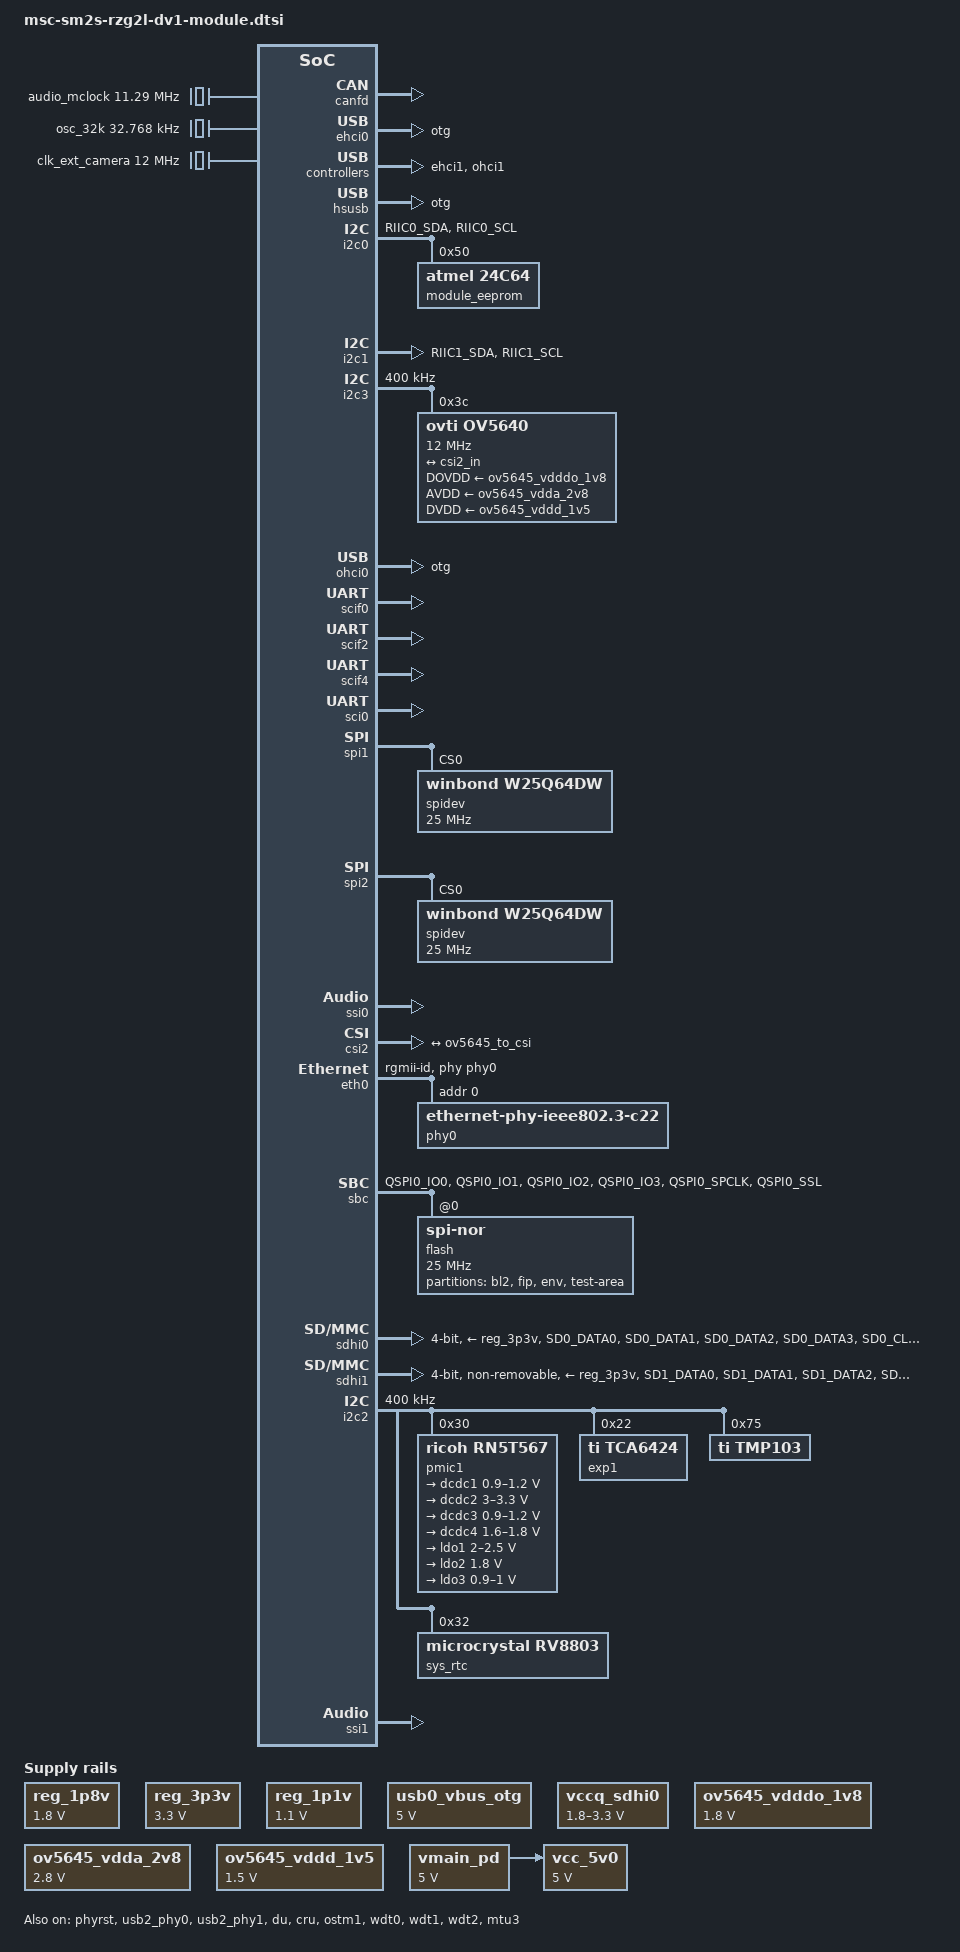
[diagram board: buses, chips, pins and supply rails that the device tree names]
// SPDX-License-Identifier: (GPL-2.0-only OR BSD-2-Clause)
/*
 * Device Tree Source for the RZ/{G2L,V2L} SMARC SOM common parts
 *
 * Copyright (C) 2021 Renesas Electronics Corp.
 */

#include <dt-bindings/gpio/gpio.h>
#include <dt-bindings/pinctrl/rzg2l-pinctrl.h>
#include <dt-bindings/interrupt-controller/arm-gic.h>
#include <dt-bindings/clock/r9a07g044-cpg.h>         
#include <dt-bindings/net/ti-dp83867.h>

/ {
	aliases {
		ethernet0 = &eth0;
		serial0 = &scif0;
		i2c0 = &i2c0;
		i2c1 = &i2c1;
		i2c2 = &i2c2;
		i2c3 = &i2c3;
		mmc0 = &sdhi0;
		mmc1 = &sdhi1;
	};

	chosen {
		bootargs = "ignore_loglevel";
		stdout-path = "serial0:115200n8";
	};

	audio_mclock: audio_mclock {
        	compatible = "fixed-clock";
        	#clock-cells = <0>;
        	clock-frequency = <11289600>;
	};
	
	reg_1p8v: regulator0 {
		compatible = "regulator-fixed";
		regulator-name = "fixed-1.8V";
		regulator-min-microvolt = <1800000>;
		regulator-max-microvolt = <1800000>;
		regulator-boot-on;
		regulator-always-on;
	};

	reg_3p3v: regulator1 {
		compatible = "regulator-fixed";
		regulator-name = "fixed-3.3V";
		regulator-min-microvolt = <3300000>;
		regulator-max-microvolt = <3300000>;
		regulator-boot-on;
		regulator-always-on;
	};

	reg_1p1v: regulator-vdd-core {
		compatible = "regulator-fixed";
		regulator-name = "fixed-1.1V";
		regulator-min-microvolt = <1100000>;
		regulator-max-microvolt = <1100000>;
		regulator-boot-on;
		regulator-always-on;
	};

	usb0_vbus_otg: regulator-usb0-vbus-otg {
		compatible = "regulator-fixed";
		regulator-name = "USB0_VBUS_OTG";
		regulator-min-microvolt = <5000000>;
		regulator-max-microvolt = <5000000>;
	};

	vccq_sdhi0: regulator-vccq-sdhi0 {
		compatible = "regulator-gpio";

		regulator-name = "SDHI0 VccQ";
		regulator-min-microvolt = <1800000>;
		regulator-max-microvolt = <3300000>;
		gpios-states = <1>;
		states = <3300000 1
          		1800000 0>;
	};
	
	vring-ctl0@43000000 {
		compatible = "vring_uio";
		reg = <0x0 0x43000000 0x0 0x100000>;
		no-map;
	};

	vring-ctl1@43100000 {
		compatible = "vring_uio";
		reg = <0x0 0x43100000 0x0 0x100000>;
		no-map;
	};

	vring-shm0@43200000 {
		compatible = "shm_uio";
		reg = <0x0 0x43200000 0x0 0x300000>;
		no-map;
	};

	vring-shm1@43500000 {
		compatible = "shm_uio";
		reg = <0x0 0x43500000 0x0 0x300000>;
		no-map;
	};

	rsctbl@42f00000 {
		compatible = "shm_uio";
		reg = <0x0 0x42f00000 0x0 0x1000>;
		no-map;
	};

	mhu-shm@42f01000 {
		compatible = "shm_uio";
		reg = <0x0 0x42f01000 0x0 0x1000>;
		no-map;
	};

	mbox-uio@10400000 {
		compatible = "mbox_uio";
		reg = <0x0 0x10400000 0x0 0x1000>;
		interrupt-parent = <&gic>;
		interrupts = <GIC_SPI 75 IRQ_TYPE_LEVEL_HIGH>;
		status = "okay";
	};

	osc_32k: osc_32k {
        	compatible = "fixed-clock";
        	#clock-cells = <0>;
        	clock-frequency = <32768>;
        	clock-output-names = "osc_32k";
	};
	
	clk_ext_camera: clk_ext_camera {
		compatible = "fixed-clock";
		#clock-cells = <0>;
		clock-frequency = <12000000>;
	};

	ov5645_vdddo_1v8: 1p8v {
		compatible = "regulator-fixed";
		regulator-name = "camera_vdddo";
		regulator-min-microvolt = <1800000>;
		regulator-max-microvolt = <1800000>;
		regulator-always-on;
	};

	ov5645_vdda_2v8: 2p8v {
		compatible = "regulator-fixed";
		regulator-name = "camera_vdda";
		regulator-min-microvolt = <2800000>;
		regulator-max-microvolt = <2800000>;
		regulator-always-on;
	 };

	ov5645_vddd_1v5: 1p5v {
		compatible = "regulator-fixed";
		regulator-name = "camera_vddd";
		regulator-min-microvolt = <1500000>;
		regulator-max-microvolt = <1500000>;
		regulator-always-on;
	};
	
	vmain_pd: regulator3 {
        	compatible = "regulator-fixed";
        	regulator-name = "vmain_pd";
        	regulator-min-microvolt = <5000000>;
        	regulator-max-microvolt = <5000000>;
        	regulator-always-on;
        	regulator-boot-on;
	};

	vcc_5v0: regulator2 {
        	compatible = "regulator-fixed";
        	regulator-name = "vcc_5v0";
        	regulator-min-microvolt = <5000000>;
        	regulator-max-microvolt = <5000000>;
        	vin-supply = <&vmain_pd>;
        	regulator-always-on;
        	regulator-boot-on;
	};

};

&audio_clk1{
	clock-frequency = <11289600>;
};

&audio_clk2{
	clock-frequency = <12288000>;
};

&canfd {
	pinctrl-0 = <&can0_pins &can1_pins>;
	pinctrl-names = "default";
	status = "okay";

	channel0 {
		status = "okay";
	};

	channel1 {
		status = "okay";
	};
};

&ehci0 {
	dr_mode = "otg";
	status = "okay";
};

&ehci1 {
	status = "okay";
};

&hsusb {
	dr_mode = "otg";
	status = "okay";
};

&i2c0 {
	pinctrl-0 = <&i2c0_pins>;
	pinctrl-names = "default";

	status = "okay";

	module_eeprom@50 {
        	compatible = "atmel,24c64";
        	reg = <0x50>;
        	pagesize = <32>;
	};
};

&i2c1 {
	pinctrl-0 = <&i2c1_pins>;
	pinctrl-names = "default";

	status = "okay";
};

&i2c3 {
	pinctrl-0 = <&i2c3_pins>;
	pinctrl-names = "default";
	clock-frequency = <400000>;

	status = "okay";

	ov5640: ov5640@3c {
        	compatible = "ovti,ov5640";
        	reg = <0x3c>;
        	clock-names = "xclk";
        	clocks = <&clk_ext_camera>;
        	clock-frequency = <12000000>;
        	DOVDD-supply = <&ov5645_vdddo_1v8>;
        	AVDD-supply = <&ov5645_vdda_2v8>;
        	DVDD-supply = <&ov5645_vddd_1v5>;

        	port {
        	        ov5645_to_csi: endpoint {
        	                clock-lanes = <0>;
        	                data-lanes = <1 2>;
        	                remote-endpoint = <&csi2_in>;
        	                bus-width = <8>;
        	                hsync-active = <0>;
        	                vsync-active = <1>;
        	                pclk-sample = <0>;
        	        };
        	};
	};
};

&ohci0 {
	dr_mode = "otg";
	status = "okay";
};

&ohci1 {
	status = "okay";
};

&phyrst {
	status = "okay";
};

&scif0 {
	pinctrl-0 = <&scif0_pins>;
	pinctrl-names = "default";
	status = "okay";
};

&scif2 {
        pinctrl-0 = <&scif2_pins>;
        pinctrl-names = "default";
        uart-has-rtscts;
        status = "okay";
};

&scif4 {
        pinctrl-0 = <&scif4_pins>;
        pinctrl-names = "default";
        status = "okay";
};

&sci0 {
        pinctrl-0 = <&sci0_pins>;
        pinctrl-names = "default";
        status = "okay";
};

&spi1 {
        pinctrl-0 = <&spi1_pins>;
        pinctrl-names = "default";
        status = "okay";

        spidev@0x00 {
                compatible="winbond,w25q64dw","jedec,spi-nor";
                spi-max-frequency = <25000000>;
                reg = <0>;
        };
};

&spi2 {
        pinctrl-0 = <&spi2_pins>;
        pinctrl-names = "default";
        status = "okay";

        spidev@0x00 {
                compatible="winbond,w25q64dw","jedec,spi-nor";
                spi-max-frequency = <25000000>;
                reg = <0>;
        };
};

&ssi0 {
	pinctrl-0 = <&ssi0_pins>;
	pinctrl-names = "default";

	status = "okay";
};

&usb2_phy0 {
	pinctrl-0 = <&usb0_pins>;
	pinctrl-names = "default";
	dr_mode = "otg";
	usb-role-switch;

	vbus-supply = <&usb0_vbus_otg>;
	status = "okay";
};

&usb2_phy1 {
	pinctrl-0 = <&usb1_pins>;
	pinctrl-names = "default";

	status = "okay";
};


&du {
	status = "okay";
};

&cru {
	status = "okay";
};

&csi2 {
	status = "okay";

	ports {
		port {
			csi2_in: endpoint {
				clock-lanes = <0>;
				data-lanes = <1 2>;
				remote-endpoint = <&ov5645_to_csi>;
			};
		};
	};
};

&eth0 {
        pinctrl-0 = <&eth0_pins>;
        pinctrl-names = "default";
        phy-handle = <&phy0>;
        phy-mode = "rgmii-id";
        status = "okay";

        phy0: ethernet-phy@0 {
                compatible = "ethernet-phy-ieee802.3-c22";
                reg = <0>;
                ti,rx-internal-delay = <DP83867_RGMIIDCTL_2_00_NS>;
                ti,tx-internal-delay = <DP83867_RGMIIDCTL_2_00_NS>;
                ti,fifo-depth = <DP83867_PHYCR_FIFO_DEPTH_4_B_NIB>;
                ti,min-output-impedance;
        };
};

&extal_clk {
	clock-frequency = <24000000>;
};

&gpu {
	mali-supply = <&reg_1p1v>;
};

&ostm1 {
	status = "okay";
};

&ostm2 {
	status = "disabled";
};

&pinctrl {
	
	pinctrl-0 = <&sound_clk_pins>;
	pinctrl-names = "default";
	
	eth0_pins: eth0 {
		pinmux = <RZG2L_PORT_PINMUX(28, 1, 1)>, /* ET0_LINKSTA */
			 <RZG2L_PORT_PINMUX(27, 1, 1)>, /* ET0_MDC */
			 <RZG2L_PORT_PINMUX(28, 0, 1)>, /* ET0_MDIO */
			 <RZG2L_PORT_PINMUX(20, 0, 1)>, /* ET0_TXC */
			 <RZG2L_PORT_PINMUX(20, 1, 1)>, /* ET0_TX_CTL */
			 <RZG2L_PORT_PINMUX(20, 2, 1)>, /* ET0_TXD0 */
			 <RZG2L_PORT_PINMUX(21, 0, 1)>, /* ET0_TXD1 */
			 <RZG2L_PORT_PINMUX(21, 1, 1)>, /* ET0_TXD2 */
			 <RZG2L_PORT_PINMUX(22, 0, 1)>, /* ET0_TXD3 */
			 <RZG2L_PORT_PINMUX(24, 0, 1)>, /* ET0_RXC */
			 <RZG2L_PORT_PINMUX(24, 1, 1)>, /* ET0_RX_CTL */
			 <RZG2L_PORT_PINMUX(25, 0, 1)>, /* ET0_RXD0 */
			 <RZG2L_PORT_PINMUX(25, 1, 1)>, /* ET0_RXD1 */
			 <RZG2L_PORT_PINMUX(26, 0, 1)>, /* ET0_RXD2 */
			 <RZG2L_PORT_PINMUX(26, 1, 1)>; /* ET0_RXD3 */
	};

	qspi0_pins: qspi0 {
		qspi0-data {
			pins = "QSPI0_IO0", "QSPI0_IO1", "QSPI0_IO2", "QSPI0_IO3";
			power-source = <3300>;
		};

		qspi0-ctrl {
			pins = "QSPI0_SPCLK", "QSPI0_SSL";
			power-source = <3300>;
		};
	};

	sdhi1_emmc_pins: sd1emmc {
		sd1_emmc_data {
			pins = "SD1_DATA0", "SD1_DATA1", "SD1_DATA2", "SD1_DATA3",
			       "SD1_DATA4", "SD1_DATA5", "SD1_DATA6", "SD1_DATA7";
			power-source = <1800>;
		};

		sd1_emmc_ctrl {
			pins = "SD1_CLK", "SD1_CMD";
			power-source = <1800>;
		};

	};

	sdhi0_pins: sd0 {
		sd0_data {
			pins = "SD0_DATA0", "SD0_DATA1", "SD0_DATA2", "SD0_DATA3";
			power-source = <3300>;
		};

		sd0_ctrl {
			pins = "SD0_CLK", "SD0_CMD";
			power-source = <3300>;
		};

		sd0_mux {
			pinmux = <RZG2L_PORT_PINMUX(18, 0, 1)>, /* SD0_CD */
				 <RZG2L_PORT_PINMUX(18, 1, 1)>; /* SD0_WP */
		};
	};

	sdhi0_pins_uhs: sd0_uhs {
		sd0_data_uhs {
			pins = "SD0_DATA0", "SD0_DATA1", "SD0_DATA2", "SD0_DATA3";
			power-source = <1800>;
		};

		sd0_ctrl_uhs {
			pins = "SD0_CLK", "SD0_CMD";
			power-source = <1800>;
		};

		sd0_mux_uhs {
			pinmux = <RZG2L_PORT_PINMUX(18, 0, 1)>, /* SD0_CD */
				 <RZG2L_PORT_PINMUX(18, 1, 1)>; /* SD0_WP */
		};
	};

	can0_pins: can0 {
		pinmux = <RZG2L_PORT_PINMUX(10, 1, 2)>, /* TX */
			 <RZG2L_PORT_PINMUX(11, 0, 2)>; /* RX */
	};

	can1_pins: can1 {
		pinmux = <RZG2L_PORT_PINMUX(12, 1, 2)>, /* TX */
			 <RZG2L_PORT_PINMUX(13, 0, 2)>; /* RX */
	};

	i2c0_pins: i2c0 {
		pins = "RIIC0_SDA", "RIIC0_SCL";
		input-enable;
	};

	i2c1_pins: i2c1 {
		pins = "RIIC1_SDA", "RIIC1_SCL";
		input-enable;
	};

	/*Added I2C-2 node*/
	i2c2_pins: i2c2 {
        	pinmux = <RZG2L_PORT_PINMUX(46, 0, 4)>,/* SDA */
                	 <RZG2L_PORT_PINMUX(46, 1, 4)>;/* SCL */
	};
	
	/*Changed GPIO number and function*/
	i2c3_pins: i2c3 {
		pinmux = <RZG2L_PORT_PINMUX(46, 2, 4)>, /* SDA */
			 <RZG2L_PORT_PINMUX(46, 3, 4)>; /* SCL */
	};

	scif0_pins: scif0 {
		pinmux = <RZG2L_PORT_PINMUX(38, 0, 1)>,	/* TxD */
			 <RZG2L_PORT_PINMUX(38, 1, 1)>;	/* RxD */
			 //<RZG2L_PORT_PINMUX(39, 1, 1)>,	/* CTS */
			 //<RZG2L_PORT_PINMUX(39, 2, 1)>;	/* RTS */
	};
	
	scif1_pins: scif1 {
		pinmux = <RZG2L_PORT_PINMUX(40, 0, 1)>,	/* TxD */
			 <RZG2L_PORT_PINMUX(40, 1, 1)>,	/* RxD */
			 <RZG2L_PORT_PINMUX(41, 0, 1)>,	/* CTS */
			 <RZG2L_PORT_PINMUX(41, 1, 1)>;	/* RTS */
	};
	
	scif2_pins: scif2 {
		pinmux = <RZG2L_PORT_PINMUX(16, 0, 2)>,	/* TxD */
			 <RZG2L_PORT_PINMUX(16, 1, 2)>,	/* RxD */
			 <RZG2L_PORT_PINMUX(17, 1, 2)>,	/* CTS */
			 <RZG2L_PORT_PINMUX(17, 2, 2)>;	/* RTS */
	};
	
	scif4_pins: scif4 {
		pinmux = <RZG2L_PORT_PINMUX(2, 0, 5)>,	/* TxD */
			 <RZG2L_PORT_PINMUX(2, 1, 5)>;	/* RxD */
	};
	
	sci0_pins: sci0 {
		pinmux = <RZG2L_PORT_PINMUX(0, 0, 2)>, /* RXD */
			 <RZG2L_PORT_PINMUX(0, 1, 2)>; /* TxD */
	};

	sound_clk_pins: sound_clk {
		pins = "AUDIO_CLK1", "AUDIO_CLK2";
		input-enable;
	};

	spi2_pins: spi2 {
		pinmux = <RZG2L_PORT_PINMUX(42, 0, 2)>, /* CK */
			 <RZG2L_PORT_PINMUX(42, 1, 2)>, /* MOSI */
			 <RZG2L_PORT_PINMUX(42, 2, 2)>, /* MISO */
			 <RZG2L_PORT_PINMUX(42, 3, 2)>; /* SSL */
	};
	
	ssi0_pins: ssi0 {
		pinmux = <RZG2L_PORT_PINMUX(6, 0, 2)>, /* BCK */
			 <RZG2L_PORT_PINMUX(6, 1, 2)>, /* RCK */
			 <RZG2L_PORT_PINMUX(7, 0, 2)>, /* TXD */
			 <RZG2L_PORT_PINMUX(7, 1, 2)>; /* RXD */
	};

	ssi1_pins: ssi1 {
		pinmux = <RZG2L_PORT_PINMUX(14, 0, 1)>, /* BCK */
			 <RZG2L_PORT_PINMUX(14, 1, 1)>, /* RCK */
			 <RZG2L_PORT_PINMUX(15, 0, 1)>, /* TXD */
			 <RZG2L_PORT_PINMUX(15, 1, 1)>; /* RXD */
	};

	usb0_pins: usb0 {
		pinmux = <RZG2L_PORT_PINMUX(4, 0, 1)>, /* VBUS */
			 <RZG2L_PORT_PINMUX(5, 0, 1)>, /* OVC */
			 <RZG2L_PORT_PINMUX(5, 1, 1)>; /* OTG_ID */
	};

	usb1_pins: usb1 {
		pinmux = <RZG2L_PORT_PINMUX(8, 0, 2)>, /* VBUS */
			 <RZG2L_PORT_PINMUX(8, 1, 2)>; /* OVC */
	};

	spi1_pins: rspi1 {
               pinmux = <RZG2L_PORT_PINMUX(44, 0, 1)>, /* RSPI1_CK */
                        <RZG2L_PORT_PINMUX(44, 1, 1)>, /*RSPI1_MOSI*/
                        <RZG2L_PORT_PINMUX(44, 2, 1)>, /*RSPI1_MISO*/
                        <RZG2L_PORT_PINMUX(44, 3, 1)>; /*RSPI1_SSL*/
	};

	mtu0_pins:mtu0 {
               pinmux =  <RZG2L_PORT_PINMUX(1, 0, 4)>,
	       		<RZG2L_PORT_PINMUX(1, 1, 4)>;
	};
};

&sbc {
	pinctrl-0 = <&qspi0_pins>;
	pinctrl-names = "default";
	status = "okay";

	flash@0 {
        	compatible = "jedec,spi-nor";
        	reg = <0>;
        	m25p,fast-read;
        	spi-max-frequency = <25000000>;
        	spi-tx-bus-width = <1>;
        	spi-rx-bus-width = <1>;

        	partitions {
        	        compatible = "fixed-partitions";
        	        #address-cells = <1>;
        	        #size-cells = <1>;

        	        partition@000000 {
        	                label = "bl2";
        	                reg = <0x00000000 0x0001D200>;
        	                read-only;
        	        };
        	        partition@01D200 {
        	                label = "fip";
        	                reg = <0x0001D200 0x001C2E00>;
        	                read-only;
        	        };
        	        partition@1E0000 {
        	                label = "env";
        	                reg = <0x001E0000 0x00020000>;
        	                read-only;
        	        };
        	        partition@200000 {
        	                label = "test-area";
        	                reg = <0x00200000 0x00E00000>;
        	        };
        	};
	};

};

&sdhi0 {
	pinctrl-0 = <&sdhi0_pins>;
	pinctrl-1 = <&sdhi0_pins_uhs>;
	pinctrl-names = "default", "state_uhs";

	vmmc-supply = <&reg_3p3v>;
	vqmmc-supply = <&vccq_sdhi0>;
	bus-width = <4>;
	sd-uhs-sdr50;
	sd-uhs-sdr104;
	status = "okay";
};

&sdhi1 {
	pinctrl-0 = <&sdhi1_emmc_pins>;
	pinctrl-1 = <&sdhi1_emmc_pins>;
	pinctrl-names = "default", "state_uhs";

	vmmc-supply = <&reg_3p3v>;
	vqmmc-supply = <&reg_1p8v>;
	bus-width = <4>;
	mmc-hs200-1_8v;
	non-removable;
	fixed-emmc-driver-type = <1>;
	status = "okay";
};

&wdt0 {
	status = "okay";
	timeout-sec = <60>;
};

&wdt1 {
	status = "okay";
	timeout-sec = <60>;
};

&wdt2 {
	status = "okay";
	timeout-sec = <60>;
};

&ehci0 {
	memory-region = <&global_cma>;
};

&ohci0 {
	memory-region = <&global_cma>;
};

&ehci1 {
	memory-region = <&global_cma>;
};

&ohci1 {
	memory-region = <&global_cma>;
};

&i2c2 {
	#address-cells = <1>;
	#size-cells = <0>;
	pinctrl-names = "default";
	pinctrl-0 = <&i2c2_pins>;
	clock-frequency = <400000>;
	status="okay";

	pmic1: pmic@30 {
        	compatible = "ricoh,rn5t567";
        	reg = <0x30>;
        	pmic-id = <0>;
        	sleep-sequence = /bits/ 8 <
                        	0x16    0x2b
                        	0x17    0x49
                        	0x1b    0x2b
                        	0x1c    0x67
                        	0x1f    0x0b
                        	0x32    0x03
                        	0x30    0x03
                	>;

        	regulators {
        	        dcdc1:DCDC1 {
        	                regulator-name = "VCC_DRAM_VPU_0V9";
        	                regulator-always-on;
        	                regulator-min-microvolt = <900000>;
        	                regulator-max-microvolt = <1200000>;
        	        };
        	        dcdc2:DCDC2 {
        	                regulator-name = "VCC_ARM_0V9";
        	                regulator-always-on;
        	                regulator-min-microvolt = <3000000>;
        	                regulator-max-microvolt = <3300000>;
        	        };

        	        dcdc3:DCDC3 {
        	                regulator-name = "VCC_DDR_1V2";
        	                regulator-always-on;
        	                regulator-min-microvolt = <900000>;
        	                regulator-max-microvolt = <1200000>;
        	        };

        	        dcdc4:DCDC4 {
        	                regulator-name = "VCC_SYS_1V8";
        	                regulator-always-on;
        	                regulator-min-microvolt = <1600000>;
        	                regulator-max-microvolt = <1800000>;
        	        };
        	        ldo1:LDO1 {
        	                regulator-name = "VCC_PHY_2V5";
        	                regulator-always-on;
        	                regulator-min-microvolt = <2000000>;
        	                regulator-max-microvolt = <2500000>;
        	        };

        	                /* For SD Card we use USH mode and use 1.8 V */
			ldo2:LDO2 {
		    		regulator-name = "VCC_LDO2_1V8";
		     		regulator-always-on;
		     		regulator-min-microvolt = <1800000>;
		     		regulator-max-microvolt = <1800000>;
     			};
			
			ldo3:LDO3 {
		     		regulator-name = "VCC_LDO3_1V0";
		     		regulator-always-on;
		     		regulator-min-microvolt = <900000>;
		     		regulator-max-microvolt = <1000000>;
     			};
		};
	};

	exp1: gpio@22 {
        	compatible = "ti,tca6424";
        	reg = <0x22>;
        	gpio-controller;
        	#gpio-cells = <2>;
	};

	tmp103: tmp103@75 {
        	compatible = "ti,tmp103";
        	reg = <0x75>;
	};

	sys_rtc: rtc@32 {
        	compatible = "microcrystal,rv8803";
        	reg = <0x32>;
	};

};

&ssi1 {                                                             
        pinctrl-0 = <&ssi1_pins>;                                   
        pinctrl-names = "default";                                  
        status = "okay";                                            
};                                                                  

&mtu3 {
       pinctrl-0 = <&mtu0_pins>;
       pinctrl-names = "default";
       pwm_mode1 = <0 1>;
       pwm_complementary = <0 1>;
        #pwm-cells = <2>;
        clocks = <&cpg CPG_MOD R9A07G044_MTU_X_MCK_MTU3>;
        clock-names = "fck";
       status = "okay";
};

